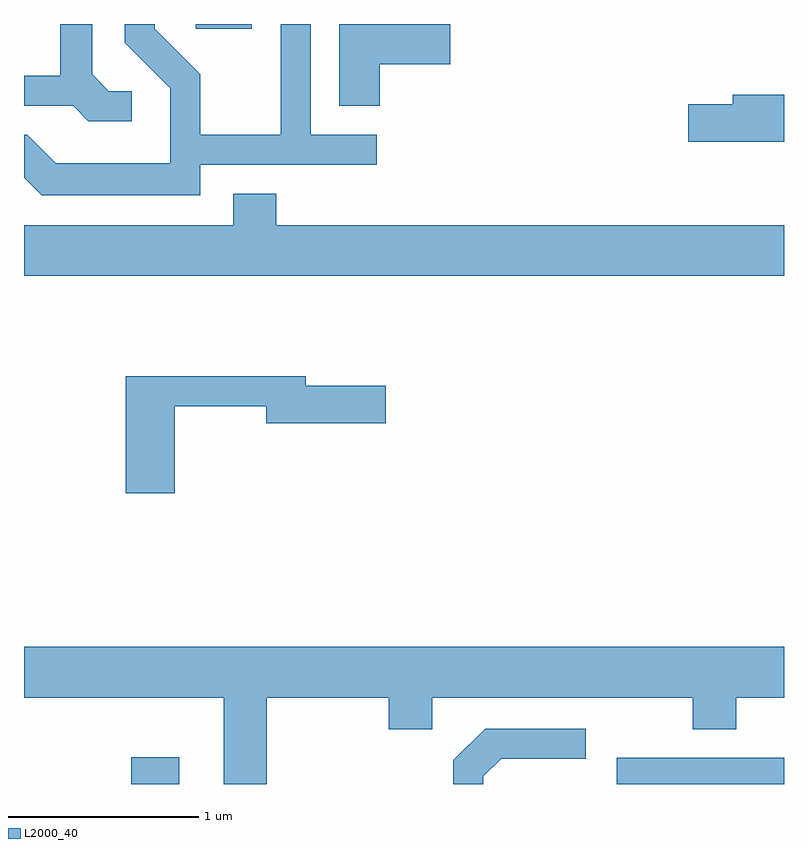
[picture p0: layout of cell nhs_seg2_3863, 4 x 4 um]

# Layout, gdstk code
import gdstk
lib = gdstk.Library(unit=1e-6, precision=1e-09)
def R(c, l, rs):  # rectangles x0, y0, x1, y1
    for r in rs: c.add(gdstk.rectangle(r[:2], r[2:], *l))
def P(c, l, *ps):  # polygons
    for p in ps: c.add(gdstk.Polygon(p, *l))
L2000_40 = (2000, 40)

nhs_seg2_3863 = lib.new_cell('nhs_seg2_3863')
R(nhs_seg2_3863, L2000_40, [(298.176,1107.802,298.429,1107.944), (300.731,1107.802,301.611,1107.939), (298.516,1111.776,298.809,1111.802)])
P(nhs_seg2_3863, L2000_40, [(298.539,1111.061),(299.468,1111.061),(299.468,1111.219),(299.119,1111.219),(299.119,1111.802),(298.961,1111.802),(298.961,1111.219),(298.539,1111.219),(298.539,1111.537),(298.299,1111.777),(298.299,1111.802),(298.141,1111.802),(298.141,1111.704),(298.381,1111.464),(298.381,1111.069),(297.777,1111.069),(297.627,1111.219),(297.611,1111.219),(297.611,1110.994),(297.704,1110.901),(298.539,1110.901)],
  [(298.178,1111.449),(298.057,1111.449),(297.969,1111.537),(297.969,1111.802),(297.801,1111.802),(297.801,1111.529),(297.611,1111.529),(297.611,1111.371),(297.869,1111.371),(297.949,1111.291),(298.178,1111.291)],
  [(299.484,1111.591),(299.854,1111.591),(299.854,1111.802),(299.271,1111.802),(299.271,1111.371),(299.484,1111.371)],
  [(301.611,1111.429),(301.341,1111.429),(301.341,1111.379),(301.106,1111.379),(301.106,1111.181),(301.611,1111.181)],
  [(301.611,1110.744),(298.939,1110.744),(298.939,1110.909),(298.711,1110.909),(298.711,1110.744),(297.611,1110.744),(297.611,1110.476),(301.611,1110.476)],
  [(298.404,1109.791),(298.886,1109.791),(298.886,1109.701),(299.514,1109.701),(299.514,1109.899),(299.094,1109.899),(299.094,1109.949),(298.146,1109.949),(298.146,1109.331),(298.404,1109.331)],
  [(298.889,1108.256),(299.531,1108.256),(299.531,1108.091),(299.759,1108.091),(299.759,1108.256),(301.131,1108.256),(301.131,1108.091),(301.359,1108.091),(301.359,1108.256),(301.611,1108.256),(301.611,1108.524),(297.611,1108.524),(297.611,1108.256),(298.661,1108.256),(298.661,1107.802),(298.889,1107.802)],
  [(300.029,1107.844),(300.122,1107.936),(300.568,1107.936),(300.568,1108.094),(300.039,1108.094),(299.871,1107.927),(299.871,1107.802),(300.029,1107.802)])

lib.write_gds('nhs_seg2_3863.gds')
